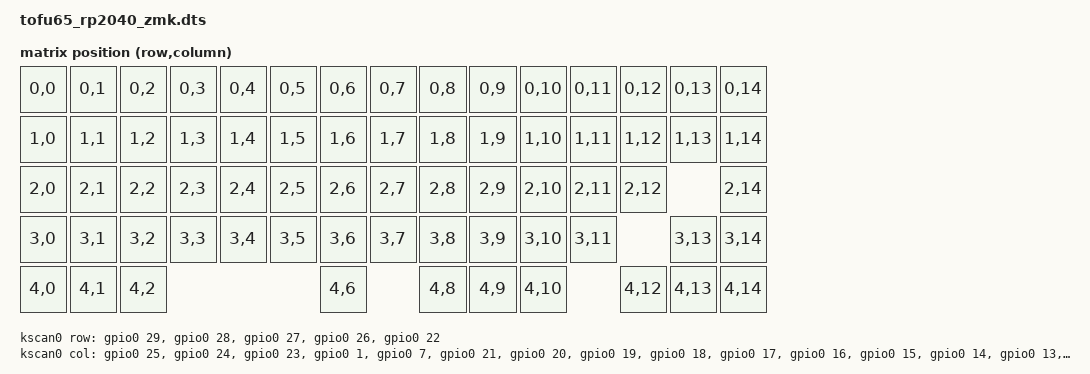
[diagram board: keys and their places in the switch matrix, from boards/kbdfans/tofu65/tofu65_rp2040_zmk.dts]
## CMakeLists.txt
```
cmake_minimum_required(VERSION 3.13.1)

set(CONFIG_APPLICATION_DEFINED_SYSCALL true)

set(ZEPHYR_BOARD_ALIASES "boards/aliases.cmake")
set(ZEPHYR_EXTRA_MODULES "${ZMK_EXTRA_MODULES};${CMAKE_CURRENT_SOURCE_DIR}/module;${CMAKE_CURRENT_SOURCE_DIR}/keymap-module")

# Zephyr 4.4 no longer adds the application source dir to SNIPPET_ROOT by
# default; register it so the snippets in app/snippets are discoverable.
set(SNIPPET_ROOT "${CMAKE_CURRENT_LIST_DIR}")

# Find Zephyr. This also loads Zephyr's build system.
find_package(Zephyr REQUIRED HINTS ../zephyr)
project(zmk)

zephyr_linker_sources(SECTIONS include/linker/zmk-behaviors.ld)
zephyr_linker_sources(RODATA include/linker/zmk-events.ld)

if(CONFIG_ZMK_BEHAVIOR_LOCAL_IDS)
  zephyr_linker_sources(DATA_SECTIONS include/linker/zmk-behavior-local-id-map.ld)
endif()

zephyr_syscall_header(${APPLICATION_SOURCE_DIR}/include/drivers/behavior.h)
zephyr_syscall_header(${APPLICATION_SOURCE_DIR}/include/drivers/input_processor.h)
zephyr_syscall_header(${APPLICATION_SOURCE_DIR}/include/drivers/ext_power.h)

# Add your source file to the "app" target. This must come after
# find_package(Zephyr) which defines the target.
target_include_directories(app PRIVATE include)
add_subdirectory(src/boot)
target_sources(app PRIVATE src/stdlib.c)
target_sources(app PRIVATE src/activity.c)
target_sources(app PRIVATE src/behavior.c)
target_sources_ifdef(CONFIG_ZMK_KSCAN_SIDEBAND_BEHAVIORS app PRIVATE src/kscan_sideband_behaviors.c)
target_sources(app PRIVATE src/matrix_transform.c)
target_sources(app PRIVATE src/physical_layouts.c)
target_sources(app PRIVATE src/sensors.c)
target_sources_ifdef(CONFIG_ZMK_WPM app PRIVATE src/wpm.c)
target_sources(app PRIVATE src/event_manager.c)
target_sources_ifdef(CONFIG_ZMK_PM app PRIVATE src/pm.c)
target_sources_ifdef(CONFIG_ZMK_EXT_POWER app PRIVATE src/ext_power_generic.c)
target_sources_ifdef(CONFIG_ZMK_GPIO_KEY_WAKEUP_TRIGGER app PRIVATE src/gpio_key_wakeup_trigger.c)
target_sources(app PRIVATE src/events/activity_state_changed.c)
target_sources(app PRIVATE src/events/position_state_changed.c)
target_sources(app PRIVATE src/events/sensor_event.c)
target_sources_ifdef(CONFIG_ZMK_WPM app PRIVATE src/events/wpm_state_changed.c)
target_sources_ifdef(CONFIG_ZMK_USB_DEVICE app PRIVATE src/events/usb_conn_state_changed.c)
target_sources(app PRIVATE src/behaviors/behavior_reset.c)
target_sources_ifdef(CONFIG_ZMK_EXT_POWER app PRIVATE src/behaviors/behavior_ext_power.c)
target_sources_ifdef(CONFIG_ZMK_BEHAVIOR_SOFT_OFF app PRIVATE src/behaviors/behavior_soft_off.c)
add_subdirectory_ifdef(CONFIG_ZMK_POINTING src/pointing/)
if ((NOT CONFIG_ZMK_SPLIT) OR CONFIG_ZMK_SPLIT_ROLE_CENTRAL)
  target_sources(app PRIVATE src/hid.c)
  target_sources(app PRIVATE src/behaviors/behavior_key_press.c)
  target_sources_ifdef(CONFIG_ZMK_BEHAVIOR_KEY_TOGGLE app PRIVATE src/behaviors/behavior_key_toggle.c)
  target_sources_ifdef(CONFIG_ZMK_BEHAVIOR_HOLD_TAP app PRIVATE src/behaviors/behavior_hold_tap.c)
  target_sources_ifdef(CONFIG_ZMK_BEHAVIOR_STICKY_KEY app PRIVATE src/behaviors/behavior_sticky_key.c)
  target_sources(app PRIVATE src/behaviors/behavior_caps_word.c)
  target_sources(app PRIVATE src/behaviors/behavior_key_repeat.c)
  target_sources_ifdef(CONFIG_ZMK_BEHAVIOR_MACRO app PRIVATE src/behaviors/behavior_macro.c)
  target_sources_ifdef(CONFIG_ZMK_BEHAVIOR_DYNAMIC_MACRO app PRIVATE src/behaviors/behavior_dynamic_macro.c)
  target_sources(app PRIVATE src/behaviors/behavior_momentary_layer.c)
  target_sources(app PRIVATE src/behaviors/behavior_mod_morph.c)
  target_sources(app PRIVATE src/behaviors/behavior_outputs.c)
  target_sources(app PRIVATE src/behaviors/behavior_toggle_layer.c)
  target_sources(app PRIVATE src/behaviors/behavior_to_layer.c)
  target_sources(app PRIVATE src/behaviors/behavior_transparent.c)
  target_sources(app PRIVATE src/behaviors/behavior_none.c)
  target_sources_ifdef(CONFIG_ZMK_BEHAVIOR_SENSOR_ROTATE app PRIVATE src/behaviors/behavior_sensor_rotate.c)
  target_sources_ifdef(CONFIG_ZMK_BEHAVIOR_SENSOR_ROTATE_VAR app PRIVATE src/behaviors/behavior_sensor_rotate_var.c)
  target_sources_ifdef(CONFIG_ZMK_BEHAVIOR_SENSOR_ROTATE_COMMON app PRIVATE src/behaviors/behavior_sensor_rotate_common.c)
  target_sources_ifdef(CONFIG_ZMK_BEHAVIOR_MOUSE_KEY_PRESS app PRIVATE src/behaviors/behavior_mouse_key_press.c)
  target_sources_ifdef(CONFIG_ZMK_BEHAVIOR_STUDIO_UNLOCK app PRIVATE src/behaviors/behavior_studio_unlock.c)
  target_sources_ifdef(CONFIG_ZMK_BEHAVIOR_INPUT_TWO_AXIS app PRIVATE src/behaviors/behavior_input_two_axis.c)
  target_sources(app PRIVATE src/combo.c)
  target_sources_ifdef(CONFIG_ZMK_BEHAVIOR_TAP_DANCE app PRIVATE src/behaviors/behavior_tap_dance.c)
  target_sources(app PRIVATE src/behavior_queue.c)
  target_sources(app PRIVATE src/conditional_layer.c)
  target_sources(app PRIVATE src/endpoints.c)
  target_sources(app PRIVATE src/events/endpoint_changed.c)
  target_sources(app PRIVATE src/hid_listener.c)
  target_sources(app PRIVATE src/keymap.c)
  target_sources(app PRIVATE src/events/layer_state_changed.c)
  target_sources(app PRIVATE src/events/modifiers_state_changed.c)
  target_sources(app PRIVATE src/events/keycode_state_changed.c)
  target_sources_ifdef(CONFIG_ZMK_HID_INDICATORS app PRIVATE src/hid_indicators.c)

  if (CONFIG_ZMK_BLE)
    target_sources(app PRIVATE src/events/ble_active_profile_changed.c)
    target_sources(app PRIVATE src/behaviors/behavior_bt.c)
    target_sources(app PRIVATE src/ble.c)
    target_sources(app PRIVATE src/hog.c)
  endif()
endif()

target_sources_ifdef(CONFIG_ZMK_RGB_UNDERGLOW app PRIVATE src/behaviors/behavior_rgb_underglow.c)
target_sources_ifdef(CONFIG_ZMK_BACKLIGHT app PRIVATE src/behaviors/behavior_backlight.c)

target_sources_ifdef(CONFIG_ZMK_BATTERY_REPORTING app PRIVATE src/events/battery_state_changed.c)
target_sources_ifdef(CONFIG_ZMK_BATTERY_REPORTING app PRIVATE src/battery.c)

target_sources_ifdef(CONFIG_ZMK_HID_INDICATORS app PRIVATE src/events/hid_indicators_changed.c)
add_subdirectory_ifdef(CONFIG_ZMK_HID_INDICATORS src/indicators)

target_sources_ifdef(CONFIG_ZMK_SPLIT app PRIVATE src/events/split_peripheral_status_changed.c)
add_subdirectory_ifdef(CONFIG_ZMK_SPLIT src/split)

target_sources_ifdef(CONFIG_MPR121 app PRIVATE src/events/mpr121_gesture_event.c)
target_sources_ifdef(CONFIG_MPR121 app PRIVATE src/events/mpr121_touch_start_event.c)
target_sources_ifdef(CONFIG_MPR121 app PRIVATE src/events/mpr121_touch_move_event.c)
target_sources_ifdef(CONFIG_MPR121 app PRIVATE src/events/mpr121_touch_end_event.c)
target_sources_ifdef(CONFIG_MPR121 app PRIVATE src/events/mpr121_touch_tap_event.c)
target_sources_ifdef(CONFIG_ZMK_TOUCHPAD app PRIVATE src/touchpad.c)

target_sources_ifdef(CONFIG_ZMK_USB_DEVICE app PRIVATE src/usb.c)
target_sources_ifdef(CONFIG_ZMK_USB app PRIVATE src/usb_hid.c)
target_sources_ifdef(CONFIG_ZMK_RGB_UNDERGLOW app PRIVATE src/rgb_underglow.c)
target_sources_ifdef(CONFIG_ZMK_BACKLIGHT app PRIVATE src/backlight.c)
target_sources_ifdef(CONFIG_ZMK_LOW_PRIORITY_WORK_QUEUE app PRIVATE src/workqueue.c)
target_sources(app PRIVATE src/indicator.c)
target_sources(app PRIVATE src/behaviors/behavior_indicator.c)
target_sources(app PRIVATE src/gpio_key.c)
target_sources(app PRIVATE src/main.c)

add_subdirectory(src/display/)
add_subdirectory_ifdef(CONFIG_SETTINGS src/settings/)

if (CONFIG_ZMK_STUDIO_RPC)
  # For some reason this is failing if run from a different sub-file.
  list(APPEND CMAKE_MODULE_PATH ${ZEPHYR_BASE}/modules/nanopb)

  include(nanopb)

    # Turn off the default nanopb behavior
  set(NANOPB_GENERATE_CPP_STANDALONE OFF)

  nanopb_generate_cpp(proto_srcs proto_hdrs RELPATH ${ZEPHYR_ZMK_STUDIO_MESSAGES_MODULE_DIR}
                        ${ZEPHYR_ZMK_STUDIO_MESSAGES_MODULE_DIR}/proto/zmk/studio.proto
                        ${ZEPHYR_ZMK_STUDIO_MESSAGES_MODULE_DIR}/proto/zmk/meta.proto
                        ${ZEPHYR_ZMK_STUDIO_MESSAGES_MODULE_DIR}/proto/zmk/core.proto
                        ${ZEPHYR_ZMK_STUDIO_MESSAGES_MODULE_DIR}/proto/zmk/behaviors.proto
                        ${ZEPHYR_ZMK_STUDIO_MESSAGES_MODULE_DIR}/proto/zmk/keymap.proto
                        ${ZEPHYR_ZMK_STUDIO_MESSAGES_MODULE_DIR}/proto/zmk/macros.proto
                        ${ZEPHYR_ZMK_STUDIO_MESSAGES_MODULE_DIR}/proto/zmk/sensors.proto
                        ${ZEPHYR_ZMK_STUDIO_MESSAGES_MODULE_DIR}/proto/zmk/touchpad.proto
  )

  target_include_directories(app PUBLIC ${CMAKE_CURRENT_BINARY_DIR})
  target_sources(app PRIVATE ${proto_srcs} ${proto_hdrs})

  add_subdirectory(src/studio)
endif()

zephyr_cc_option(-Wfatal-errors)
```

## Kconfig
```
# Copyright (c) 2020 The ZMK Contributors
# SPDX-License-Identifier: MIT

mainmenu "ZMK Firmware"

menu "ZMK"

config ZMK_BOARD_COMPAT
    bool
    help
      Hidden symbol used to hint that a board has been specifically
      set up with various ZMK requirements in mind, e.g. settings
      storage, bootloader integration, etc.

      Failure to set this will warn users they may want to verify they
      used a ZMK variant of an upstream board, or are using a board
      properly migrated to a newer ZMK version.

menu "Basic Keyboard Setup"

config ZMK_KEYBOARD_NAME
    string "Keyboard Name"

config USB_DEVICE_PRODUCT
    string "USB Product"
    default ZMK_KEYBOARD_NAME

config BT_DEVICE_NAME
    default ZMK_KEYBOARD_NAME

config USB_DEVICE_VID
    hex "USB Vendor ID"
    default 0x1D50

config USB_DEVICE_PID
    hex "USB Product ID"
    default 0x615E

config USB_DEVICE_MANUFACTURER
    string "USB Manufacturer"
    default "ZMK Project"

config BT_DIS_PNP_VID
    default 0x1D50

config BT_DIS_PNP_PID
    default 0x615E

config BT_DIS_MODEL_NUMBER_STR
    default ZMK_KEYBOARD_NAME

config BT_DIS_MANUF_NAME_STR
    default "ZMK Project"

# Hardware specific overrides

if SOC_SERIES_NRF52X

# Default on for our usage until boards implement retained bootmode.
config NRF_STORE_REBOOT_TYPE_GPREGRET
    bool
    default y

endif # SOC_SERIES_NRF52X

menu "HID"

choice ZMK_HID_REPORT_TYPE
    prompt "HID Report Type"

config ZMK_HID_REPORT_TYPE_HKRO
    bool "#-Key Roll Over (HKRO) HID Report"
    help
      Enable # key roll over for HID report. This selection is "boot keyboard" compatible
      but limits the total number of possible keys to report as held to #.

config ZMK_HID_REPORT_TYPE_NKRO
    bool "Full N-Key Roll Over (NKRO) HID Report"
    help
      Enable full N-Key Roll Over for HID output. This selection will prevent the keyboard
      from working with some BIOS/UEFI versions that only support "boot keyboard" support.
      This option also prevents using some infrequently used higher range HID usages (notably F13-F24 and INTL1-9)
      These usages can be re enabled with ZMK_HID_KEYBOARD_NKRO_EXTENDED_REPORT.

endchoice

config ZMK_HID_KEYBOARD_NKRO_EXTENDED_REPORT
    bool "Enable extended NKRO reporting"
    depends on ZMK_HID_REPORT_TYPE_NKRO
    help
      Enables higher usage range for NKRO (F13-F24 and INTL1-9).
      Please note this is not compatible with Android currently and you will get no input


if ZMK_HID_REPORT_TYPE_HKRO

config ZMK_HID_KEYBOARD_REPORT_SIZE
    int "# Keyboard Keys Reportable"
    # The USB HID IN endpoint is limited to 64 bytes; the keyboard report is
    # 2 bytes of header plus one byte per reported key.
    range 1 62

endif # ZMK_HID_REPORT_TYPE_HKRO

config ZMK_HID_CONSUMER_REPORT_SIZE
    int "# Consumer Keys Reportable"
    # The USB HID IN endpoint is limited to 64 bytes; the consumer report is
    # 1 byte of header plus 1 (basic) or 2 (full) bytes per reported key.
    range 1 63
    range 1 31 if ZMK_HID_CONSUMER_REPORT_USAGES_FULL

choice ZMK_HID_CONSUMER_REPORT_USAGES
    prompt "HID Report Type"

config ZMK_HID_CONSUMER_REPORT_USAGES_FULL
    bool "Full Consumer HID Usage Support"
    help
      Enable full Consumer usage ID values to be sent to hosts. Allows for less
      frequently used usages, but has compatibability issues with some host OSes.

config ZMK_HID_CONSUMER_REPORT_USAGES_BASIC
    bool "Basic Consumer HID Usage Support"
    help
      Enable Consumer usage ID values up to "Playback Speed - Slow" to be sent to
      hosts. Allows for broader compatibability with more host OSes.

endchoice

config ZMK_HID_INDICATORS
    bool "HID Indicators"
    help
      Enable HID indicators, used for detecting state of Caps/Scroll/Num Lock,
      Kata, and Compose.

rsource "src/indicators/Kconfig"

config ZMK_HID_SEPARATE_MOD_RELEASE_REPORT
    bool "Release Modifiers Separately"
    help
      Send a separate release event for the modifiers, to make sure the release
      of the modifier doesn't get recognized before the actual key's release event.

menu "Output Types"

config ZMK_USB
    bool "USB"
    depends on (!ZMK_SPLIT || (ZMK_SPLIT && ZMK_SPLIT_ROLE_CENTRAL))
    select USB_DEVICE_STACK_NEXT
    select USBD_HID_SUPPORT
    select USBD_HID_SET_POLLING_PERIOD

config ZMK_USB_BOOT
    bool "USB Boot Protocol Support"
    depends on ZMK_USB
    help
      Enables USB boot protocol support. Note that the host will only use the
      boot protocol if the device advertises it: the zmk_usb_hid devicetree
      node (see app/app.overlay) must have protocol-code = "keyboard" set via
      a board overlay for this option to take effect.

config ZMK_USB_REMOTE_WAKEUP
    bool "USB Remote Wakeup"
    depends on ZMK_USB

if ZMK_USB

config USB_HID_POLL_INTERVAL_MS
    default 1

endif # ZMK_USB

config ZMK_USB_DEVICE
    bool
    default y if ZMK_USB || ZMK_USB_LOGGING

menuconfig ZMK_BLE
    bool "BLE (HID over GATT)"
    select BT
    select BT_SMP
    select BT_SMP_SC_PAIR_ONLY
    select BT_SMP_APP_PAIRING_ACCEPT
    select BT_PERIPHERAL
    select BT_DIS
    imply BT_DEVICE_NAME_DYNAMIC
    imply BT_SETTINGS if !ARCH_POSIX
    imply SETTINGS if !ARCH_POSIX
    imply ZMK_BATTERY_REPORTING if !ARCH_POSIX

if ZMK_BLE

config ZMK_BLE_EXPERIMENTAL_CONN
    bool "Experimental BLE connection changes"
    help
      Enables settings that are planned to be default in future versions of ZMK
      to improve connection stability.

config ZMK_BLE_EXPERIMENTAL_SEC
    bool "Experimental BLE security changes"
    imply BT_SMP_ALLOW_UNAUTH_OVERWRITE
    help
      Enables security settings that are planned to be officially supported in the future.

config ZMK_BLE_EXPERIMENTAL_FEATURES
    bool "Experimental BLE connection and security settings/features"
    select ZMK_BLE_EXPERIMENTAL_CONN
    select ZMK_BLE_EXPERIMENTAL_SEC
    help
      Enables experimental connection changes and security features.

config ZMK_BLE_PASSKEY_ENTRY
    bool "Require passkey entry on the keyboard to complete pairing"
    select RING_BUFFER

config BT_SMP_ALLOW_UNAUTH_OVERWRITE
    imply ZMK_BLE_PASSKEY_ENTRY

config BT_CTLR_PHY_2M
    default n if ZMK_BLE_EXPERIMENTAL_CONN

config ZMK_BLE_THREAD_STACK_SIZE
    int "BLE notify thread stack size"
    default 768

config ZMK_BLE_THREAD_PRIORITY
    int "BLE notify thread priority"
    default 5

config ZMK_BLE_KEYBOARD_REPORT_QUEUE_SIZE
    int "Max number of keyboard HID reports to queue for sending over BLE"
    default 20

config ZMK_BLE_CONSUMER_REPORT_QUEUE_SIZE
    int "Max number of consumer HID reports to queue for sending over BLE"
    default 5

config ZMK_BLE_MOUSE_REPORT_QUEUE_SIZE
    int "Max number of mouse HID reports to queue for sending over BLE"
    default 20

config ZMK_BLE_CLEAR_BONDS_ON_START
    bool "Configuration that clears all bond information from the keyboard on startup."

# HID GATT notifications sent this way are *not* picked up by Linux, and possibly others.
config BT_GATT_NOTIFY_MULTIPLE
    default n

config BT_GATT_AUTO_SEC_REQ
    default (ZMK_SPLIT_BLE && !ZMK_SPLIT_ROLE_CENTRAL)

config BT_PERIPHERAL_PREF_MIN_INT
    default 6

config BT_PERIPHERAL_PREF_MAX_INT
    default 12

config BT_PERIPHERAL_PREF_LATENCY
    default 30

config BT_PERIPHERAL_PREF_TIMEOUT
    default 400

# The device name should be 16 characters or less so it fits within the
# advertising data.
config BT_DEVICE_NAME_MAX
    default 16

endif # ZMK_BLE

endmenu # Output Types

endmenu # HID

rsource "src/split/Kconfig"

endmenu # Basic Keyboard Setup

menu "Keymaps"

config ZMK_KEYMAP_LAYER_REORDERING
    bool "Layer Reordering Support"

config ZMK_KEYMAP_SETTINGS_STORAGE
    bool "Settings Save/Load"
    depends on SETTINGS
    depends on ZMK_BEHAVIOR_LOCAL_IDS

if ZMK_KEYMAP_SETTINGS_STORAGE

config ZMK_KEYMAP_LAYER_NAME_MAX_LEN
    int "Max Layer Name Length"
    default 20

endif # ZMK_KEYMAP_SETTINGS_STORAGE

endmenu # Keymaps

rsource "src/studio/Kconfig"

menu "Display/LED Options"

rsource "src/display/Kconfig"

menuconfig ZMK_RGB_UNDERGLOW
    bool "RGB Addressable LED Underglow"
    select LED_STRIP
    select ZMK_LOW_PRIORITY_WORK_QUEUE

if ZMK_RGB_UNDERGLOW

config ZMK_RGB_UNDERGLOW_EXT_POWER
    bool "RGB underglow toggling also controls external power"

config ZMK_RGB_UNDERGLOW_BRT_MIN
    int "RGB underglow minimum brightness in percent"
    range 0 100

config ZMK_RGB_UNDERGLOW_BRT_MAX
    int "RGB underglow maximum brightness in percent"
    range ZMK_RGB_UNDERGLOW_BRT_MIN 100

config ZMK_RGB_UNDERGLOW_HUE_STEP
    int "RGB underglow hue step in degrees"
    range 0 359

config ZMK_RGB_UNDERGLOW_SAT_STEP
    int "RGB underglow saturation step in percent"
    range 0 100

config ZMK_RGB_UNDERGLOW_BRT_STEP
    int "RGB underglow brightness step in percent"
    range 0 100

config ZMK_RGB_UNDERGLOW_HUE_START
    int "RGB underglow start hue value in degrees"
    range 0 359

config ZMK_RGB_UNDERGLOW_SAT_START
    int "RGB underglow start saturations value in percent"
    range 0 100

config ZMK_RGB_UNDERGLOW_BRT_START
    int "RGB underglow start brightness value in percent"
    range ZMK_RGB_UNDERGLOW_BRT_MIN ZMK_RGB_UNDERGLOW_BRT_MAX

config ZMK_RGB_UNDERGLOW_SPD_START
    int "RGB underglow start animation speed value"
    range 1 5

config ZMK_RGB_UNDERGLOW_EFF_START
    int "RGB underglow start effect int value related to the effect enum list"
    range 0 3

config ZMK_RGB_UNDERGLOW_ON_START
    bool "RGB underglow starts on by default"

config ZMK_RGB_UNDERGLOW_AUTO_OFF_IDLE
    bool "Turn off RGB underglow when keyboard goes into idle state"

config ZMK_RGB_UNDERGLOW_AUTO_OFF_USB
    bool "Turn off RGB underglow when USB is disconnected"
    depends on ZMK_USB

endif # ZMK_RGB_UNDERGLOW

menuconfig ZMK_BACKLIGHT
    bool "LED backlight"
    select LED

if ZMK_BACKLIGHT

config ZMK_BACKLIGHT_BRT_STEP
    int "Brightness step in percent"
    range 1 100

config ZMK_BACKLIGHT_BRT_START
    int "Default brightness in percent"
    range 1 100

config ZMK_BACKLIGHT_ON_START
    bool "Default backlight state"

config ZMK_BACKLIGHT_AUTO_OFF_IDLE
    bool "Turn off backlight when keyboard goes into idle state"

config ZMK_BACKLIGHT_AUTO_OFF_USB
    bool "Turn off backlight when USB is disconnected"
    depends on ZMK_USB

endif # ZMK_BACKLIGHT

endmenu # Display/LED Options

rsource "src/pointing/Kconfig"

menu "Power Management"

config ZMK_BATTERY_REPORTING
    bool "Battery level detection/reporting"
    select SENSOR
    select ZMK_LOW_PRIORITY_WORK_QUEUE
    imply BT_BAS if ZMK_BLE

if ZMK_BATTERY_REPORTING

choice ZMK_BATTERY_REPORTING_FETCH_MODE
    prompt "Battery Reporting Fetch Mode"

config ZMK_BATTERY_REPORTING_FETCH_MODE_STATE_OF_CHARGE
    bool "State of charge"

config ZMK_BATTERY_REPORTING_FETCH_MODE_LITHIUM_VOLTAGE
    bool "Lithium Voltage"

endchoice

endif # ZMK_BATTERY_REPORTING

config ZMK_IDLE_TIMEOUT
    int "Milliseconds of inactivity before entering idle state (OLED shutoff, etc)"
    default 30000

config ZMK_SLEEP
    bool "Enable deep sleep support"
    depends on HAS_POWEROFF
    select POWEROFF
    select ZMK_PM_DEVICE_SUSPEND_RESUME

if ZMK_SLEEP

config PM_DEVICE
    default y

config ZMK_IDLE_SLEEP_TIMEOUT
    int "Milliseconds of inactivity before entering deep sleep"
    default 900000

endif # ZMK_SLEEP

config ZMK_EXT_POWER
    bool "Enable support to control external power output"

config ZMK_PM
    bool

config ZMK_PM_DEVICE_SUSPEND_RESUME
    bool
    select ZMK_PM

config ZMK_PM_SOFT_OFF
    bool "Soft-off support"
    depends on HAS_POWEROFF
    select ZMK_PM
    select PM_DEVICE
    select ZMK_PM_DEVICE_SUSPEND_RESUME
    select POWEROFF

config ZMK_GPIO_KEY_WAKEUP_TRIGGER
    bool "Hardware supported wakeup (GPIO)"
    default y
    depends on DT_HAS_ZMK_GPIO_KEY_WAKEUP_TRIGGER_ENABLED && ZMK_PM_SOFT_OFF

# Power Management
endmenu

menu "Combo options"

config ZMK_COMBO_MAX_PRESSED_COMBOS
    int "Maximum number of currently pressed combos"
    default 4

config ZMK_COMBO_MAX_COMBOS_PER_KEY
    int "Deprecated: Max combos per key"
    default 0
    help
      Deprecated: Storage for combos is now determined automatically

config ZMK_COMBO_MAX_KEYS_PER_COMBO
    int "Deprecated: Max keys per combo"
    default 0
    help
       Deprecated: This is now auto-calculated based on `key-positions` in devicetree

# Combo options
endmenu

menu "Behavior Options"

config ZMK_BEHAVIORS_QUEUE_SIZE
    int "Maximum number of behaviors to allow queueing from a macro or other complex behavior"
    default 64

rsource "Kconfig.behaviors"

config ZMK_MACRO_DEFAULT_WAIT_MS
    int "Default time to wait (in milliseconds) before triggering the next behavior in macros"
    default 15

config ZMK_MACRO_DEFAULT_TAP_MS
    int "Default time to wait (in milliseconds) between the press and release events of a tapped behavior in macros"
    default 30

endmenu

menu "Advanced"

rsource "src/boot/Kconfig"

menu "Initialization Priorities"

if ZMK_USB_DEVICE

config ZMK_USB_INIT_PRIORITY
    int "USB Init Priority"
    default 96

config ZMK_USB_HID_INIT_PRIORITY
    int "USB HID Init Priority"
    default 95

endif # ZMK_USB_DEVICE

if ZMK_BLE || ZMK_SPLIT_BLE

config ZMK_BLE_INIT_PRIORITY
    int "BLE Init Priority"
    default 50

endif # ZMK_BLE || ZMK_SPLIT_BLE

endmenu # Initialization Priorities

config ZMK_PHYSICAL_LAYOUT_KEY_ROTATION
    bool "Support rotation of keys in physical layouts"
    default y

menuconfig ZMK_KSCAN
    bool "ZMK KScan Integration"
    default y

if ZMK_KSCAN

config ZMK_KSCAN_EVENT_QUEUE_SIZE
    int "Size of the event queue for KSCAN events to buffer events"
    default 4

endif # ZMK_KSCAN

config ZMK_KSCAN_SIDEBAND_BEHAVIORS
    bool
    default y
    depends on DT_HAS_ZMK_KSCAN_SIDEBAND_BEHAVIORS_ENABLED
    select INPUT

if ZMK_KSCAN_SIDEBAND_BEHAVIORS

config ZMK_KSCAN_SIDEBAND_BEHAVIORS_INIT_PRIORITY
    int "Keyboard scan sideband behaviors driver init priority"
    # The default kscan init priority is 90, so be sure we are initialized later.
    default 95

endif # ZMK_KSCAN_SIDEBAND_BEHAVIORS

menu "Logging"

config ZMK_LOGGING_MINIMAL
    bool "Suppress all ZMK debug log messages"
    default false

if !ZMK_LOGGING_MINIMAL

config ZMK_LOG_LEVEL
    default 4

endif

config ZMK_USB_LOGGING
    bool "Enable USB CDC ACM logging to help debug"
    select LOG
    select USB_DEVICE_STACK_NEXT
    select USBD_CDC_ACM_CLASS
    select SERIAL
    select CONSOLE
    select UART_INTERRUPT_DRIVEN
    select UART_LINE_CTRL
    select UART_CONSOLE

if ZMK_USB_LOGGING

# Keep the CDC ACM class's own log level off by default: the class is the
# logging console, so class logging would recurse into the console it feeds.
# (The class forces the level to OFF at runtime anyway, with a #warning.)
choice USBD_CDC_ACM_LOG_LEVEL_CHOICE
    default USBD_CDC_ACM_LOG_LEVEL_OFF
endchoice

config LOG_PROCESS_THREAD_STARTUP_DELAY_MS
    default 1000

endif # ZMK_USB_LOGGING

config ZMK_RTT_LOGGING
    bool "Enable RTT logging to help debug"
    select LOG
    select DEBUG
    select ASSERT
    select USE_SEGGER_RTT
    select CONSOLE
    select RTT_CONSOLE

if ZMK_RTT_LOGGING

config SEGGER_RTT_BUFFER_SIZE_UP
    default 8192

endif # ZMK_RTT_LOGGING

if ZMK_USB_LOGGING || ZMK_RTT_LOGGING

config LOG_BUFFER_SIZE
    default 8192

config LOG_PROCESS_THREAD_SLEEP_MS
    default 100

endif # ZMK_USB_LOGGING || ZMK_RTT_LOGGING

endmenu # Logging

if SETTINGS

config ZMK_SETTINGS_RESET_ON_START
    bool "Delete all persistent settings when the keyboard boots"

if ZMK_SETTINGS_RESET_ON_START

config ZMK_SETTINGS_RESET_ON_START_INIT_PRIORITY
    int "Settings Reset ON Start Initialization Priority"
    default 60
    help
      Initialization priority for the settings reset on start. Must be lower priority/
      higher value than FLASH_INIT_PRIORITY if using the NVS/Flash settings backend.

endif # ZMK_SETTINGS_RESET_ON_START

config ZMK_SETTINGS_SAVE_DEBOUNCE
    int "Milliseconds to debounce settings saves"
    default 60000

endif # SETTINGS

config ZMK_BATTERY_REPORT_INTERVAL
    depends on ZMK_BATTERY_REPORTING
    int "Battery level report interval in seconds"

config ZMK_LOW_PRIORITY_WORK_QUEUE
    bool "Work queue for low priority items"

if ZMK_LOW_PRIORITY_WORK_QUEUE

config ZMK_LOW_PRIORITY_THREAD_STACK_SIZE
    int "Low priority thread stack size"
    default 768

config ZMK_LOW_PRIORITY_THREAD_PRIORITY
    int "Low priority thread priority"
    default 10

endif # ZMK_LOW_PRIORITY_WORK_QUEUE

endmenu # Advanced

endmenu # ZMK

if SOC_FAMILY_NORDIC_NRF

config NRF_SOC_VALIDATE_HEADERS_DISABLED
    default y

endif

config KERNEL_BIN_NAME
    default "zmk"

config REBOOT
    default y

config FPU
    default CPU_HAS_FPU

config ZMK_WPM
    bool "Calculate WPM"

config ZMK_KEYMAP_SENSORS
    bool "Enable Keymap Sensors support"
    default y
    depends on DT_HAS_ZMK_KEYMAP_SENSORS_ENABLED
    select SENSOR

if ZMK_KEYMAP_SENSORS

config ZMK_KEYMAP_SENSORS_DEFAULT_TRIGGERS_PER_ROTATION
    int "Default triggers per rotation"
    help
      Unless overridden for a sensor in the board/shield/devicetree, this value
      determines how many times to trigger the bound behavior per full rotation.
      For tactile encoders with detents, this usually should match the number of
      detents per rotation of the encoder.
    default 20

config ZMK_KEYMAP_SENSORS_MAX_BINDINGS
    int "Max sensor bindings"
    default 2
    help
      Maximum number of bindings per sensor.

endif # ZMK_KEYMAP_SENSORS

config ZMK_TOUCHPAD
    bool "Touchpad Support"
    default y
    depends on MPR121
    help
      Touchpad module with per-layer bindings and mode support.

module = ZMK
module-str = zmk
source "subsys/logging/Kconfig.template.log_config"

# This loads ZMK's internal board and shield Kconfigs
rsource "boards/Kconfig"
rsource "boards/shields/*/Kconfig.defconfig"
rsource "boards/shields/*/Kconfig.shield"

# This loads custom shields defconfigs (from BOARD_ROOT)
# Duplicated from Kconfig.zephyr
osource "$(KCONFIG_BINARY_DIR)/Kconfig.shield.defconfig"

# This loads board and shield Kconfigs found under zmk-config/config/
osource "$(ZMK_CONFIG)/boards/shields/*/Kconfig.defconfig"
osource "$(ZMK_CONFIG)/boards/shields/*/Kconfig.shield"

# This loads ZMK's sensible defaults
rsource "Kconfig.defaults"

source "Kconfig.zephyr"
```

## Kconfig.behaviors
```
# Copyright (c) 2023 The ZMK Contributors
# SPDX-License-Identifier: MIT

config ZMK_BEHAVIOR_METADATA
    bool "Metadata"
    help
      Enabling this option adds APIs for documenting and fetching
      metadata describing a behaviors name, and supported parameters.

config ZMK_BEHAVIOR_LOCAL_IDS
    bool "Local IDs"

if ZMK_BEHAVIOR_LOCAL_IDS

config ZMK_BEHAVIOR_LOCAL_IDS_IN_BINDINGS
    bool "Track in behavior bindings"

choice ZMK_BEHAVIOR_LOCAL_ID_TYPE
    prompt "Local ID Type"

config ZMK_BEHAVIOR_LOCAL_ID_TYPE_SETTINGS_TABLE
    bool "Settings Table"
    depends on SETTINGS
    select ZMK_BEHAVIOR_LOCAL_IDS_IN_BINDINGS
    help
      Use persistent entries in the settings subsystem to identify
      behaviors by local ID, which uses the device name to generate
      a new settings entry tying a presistant local ID to that name.
      This guarantees stable, colllision-free local IDs at the expense
      of settings storage used.

config ZMK_BEHAVIOR_LOCAL_ID_TYPE_CRC16
    bool "CRC16 Hash"
    select CRC
    help
      Use the CRC16-ANSI hash of behavior device names to generate
      stable behavior local IDs. This saves on settings storage at
      the expense of (highly unlikely) risk of collisions.

endchoice

endif


config ZMK_BEHAVIOR_HOLD_TAP
    bool
    default y
    depends on DT_HAS_ZMK_BEHAVIOR_HOLD_TAP_ENABLED

if ZMK_BEHAVIOR_HOLD_TAP

config ZMK_BEHAVIOR_HOLD_TAP_MAX_HELD
    int "Hold Tap Max Held"
    help
      Max number of simultaneously held hold-taps

config ZMK_BEHAVIOR_HOLD_TAP_MAX_CAPTURED_EVENTS
    int "Hold Tap Max Captured Events"
    help
      Max number of captured system events while waiting to resolve hold taps

endif

config ZMK_BEHAVIOR_KEY_TOGGLE
    bool
    default y
    depends on DT_HAS_ZMK_BEHAVIOR_KEY_TOGGLE_ENABLED

config ZMK_BEHAVIOR_MOUSE_KEY_PRESS
    bool
    default y
    depends on DT_HAS_ZMK_BEHAVIOR_MOUSE_KEY_PRESS_ENABLED && ZMK_POINTING

config ZMK_BEHAVIOR_STICKY_KEY
    bool
    default y
    depends on DT_HAS_ZMK_BEHAVIOR_STICKY_KEY_ENABLED

if ZMK_BEHAVIOR_STICKY_KEY

config ZMK_BEHAVIOR_STICKY_KEY_MAX_HELD
    int "Sticky Key Max Held"
    help
      Max number of simultaneously held sticky keys

endif

config ZMK_BEHAVIOR_SOFT_OFF
    bool
    default y
    depends on DT_HAS_ZMK_BEHAVIOR_SOFT_OFF_ENABLED && ZMK_PM_SOFT_OFF


config ZMK_BEHAVIOR_TAP_DANCE
    bool
    default y
    depends on DT_HAS_ZMK_BEHAVIOR_TAP_DANCE_ENABLED

if ZMK_BEHAVIOR_TAP_DANCE

config ZMK_BEHAVIOR_TAP_DANCE_MAX_HELD
    int "Tap-Dance Max Held"
    help
      Max number of simultaneously held taps-dances

endif

config ZMK_BEHAVIOR_INPUT_TWO_AXIS
    bool
    default y
    depends on DT_HAS_ZMK_BEHAVIOR_INPUT_TWO_AXIS_ENABLED && ZMK_POINTING

config ZMK_BEHAVIOR_SENSOR_ROTATE_COMMON
    bool

config ZMK_BEHAVIOR_SENSOR_ROTATE
    bool
    default y
    depends on DT_HAS_ZMK_BEHAVIOR_SENSOR_ROTATE_ENABLED
    select ZMK_BEHAVIOR_SENSOR_ROTATE_COMMON

config ZMK_BEHAVIOR_SENSOR_ROTATE_VAR
    bool
    default y
    depends on DT_HAS_ZMK_BEHAVIOR_SENSOR_ROTATE_VAR_ENABLED
    select ZMK_BEHAVIOR_SENSOR_ROTATE_COMMON

config ZMK_BEHAVIOR_STUDIO_UNLOCK
    bool
    default y
    depends on DT_HAS_ZMK_BEHAVIOR_STUDIO_UNLOCK_ENABLED && ZMK_STUDIO

config ZMK_BEHAVIOR_MACRO
    bool
    default y
    depends on DT_HAS_ZMK_BEHAVIOR_MACRO_ENABLED || DT_HAS_ZMK_BEHAVIOR_MACRO_ONE_PARAM_ENABLED || DT_HAS_ZMK_BEHAVIOR_MACRO_TWO_PARAM_ENABLED

config ZMK_BEHAVIOR_DYNAMIC_MACRO
    bool "Dynamic Macro Behavior"
    depends on ZMK_STUDIO
    default y
    help
      Enable support for dynamic macros, which can be updated at runtime.

if ZMK_BEHAVIOR_DYNAMIC_MACRO

config ZMK_DYNAMIC_MACROS_COUNT
    int "Number of dynamic macros"
    default 16
    help
      The number of available dynamic macro slots.

config ZMK_DYNAMIC_MACROS_MAX_STEPS
    int "Maximum steps per dynamic macro"
    default 64
    help
      The maximum number of bindings (steps) that a single dynamic macro can hold.

endif
```

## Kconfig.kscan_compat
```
# Temporary compatibility shim for the kscan subsystem removed in Zephyr 4.2.
# ZMK's kscan drivers (app/module/drivers/kscan) and their consumers still
# select/use the legacy KSCAN symbols; this is removed together with the
# matrix-input migration (backlog a01).

menuconfig KSCAN
	bool "Keyboard scan drivers (ZMK compatibility shim)"
	select DEPRECATED
	help
	  Include Keyboard scan drivers in system config.

if KSCAN

config KSCAN_INIT_PRIORITY
	int "Keyboard scan driver init priority"
	default 90
	help
	  Keyboard scan device driver initialization priority.

endif # KSCAN
```

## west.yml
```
manifest:
  remotes:
    - name: zephyrproject-rtos
      url-base: https://github.com/zephyrproject-rtos
    - name: zmkfirmware
      url-base: https://github.com/zmkfirmware
    - name: cobanfirmware
      url-base: https://github.com/RyanDam
  projects:
    - name: zephyr
      remote: zmkfirmware
      revision: v4.1.0+zmk-fixes
      clone-depth: 1
      import:
        name-blocklist:
          - ci-tools
          - hal_altera
          - hal_cypress
          - hal_infineon
          - hal_microchip
          - hal_nxp
          - hal_openisa
          - hal_xtensa
          - hal_st
          - hal_ti
          - loramac-node
          - mcuboot
          - mcumgr
          - net-tools
          - openthread
          - edtt
          - trusted-firmware-m
    - name: hal_stm32
      revision: 4fcc3a3f32abe1c4cb76d9d1cef967728dd03908
      path: modules/hal/stm32
      remote: zmkfirmware
      groups:
        - hal
    - name: lvgl
      revision: f1db87ee98f1810328a8419572fa42a3b5f352ae
      path: modules/lib/gui/lvgl
      remote: zmkfirmware
    - name: zmk-studio-messages
      revision: main
      path: modules/msgs/zmk-studio-messages
      remote: cobanfirmware
      repo-path: zmk-studio-messages
  group-filter: [+optional]
  self:
    west-commands: scripts/west-commands.yml
```

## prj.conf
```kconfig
CONFIG_APPLICATION_DEFINED_SYSCALL=y
CONFIG_INPUT_MODE_SYNCHRONOUS=y
```

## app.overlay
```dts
/*
 * Copyright (c) 2020 The ZMK Contributors
 *
 * SPDX-License-Identifier: MIT
 */

/*
 * ZMK USB HID class instance for the Zephyr USB device stack (device_next).
 *
 * The class instance is linked to the usbd_context at runtime via
 * usbd_register_class(), so the node does not need to be a child of the
 * USB device controller (UDC) node. Defining it at the root keeps it
 * independent of per-board UDC node naming.
 *
 * The node is present in all builds; the class driver is only compiled when
 * the USB device stack is enabled.
 *
 * Boards enabling USB boot protocol support (CONFIG_ZMK_USB_BOOT) set
 * protocol-code = "keyboard" on this node via a board overlay. The
 * protocol-code property is intentionally NOT set here: the binding treats
 * its absence as "none" (no boot interface), and defining it in this overlay
 * would override board/shield overlays, which are applied earlier.
 */

/ {
    zmk_usb_hid: hid {
        compatible = "zephyr,hid-device";
        in-report-size = <64>;
        in-polling-period-us = <1000>;
    };
};
```

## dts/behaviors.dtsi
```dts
/*
 * Copyright (c) 2024 The ZMK Contributors
 *
 * SPDX-License-Identifier: MIT
 */

#include <behaviors/key_press.dtsi>
#include <behaviors/key_toggle.dtsi>
#include <behaviors/transparent.dtsi>
#include <behaviors/none.dtsi>
#include <behaviors/mod_tap.dtsi>
#include <behaviors/layer_tap.dtsi>
#include <behaviors/gresc.dtsi>
#include <behaviors/sticky_key.dtsi>
#include <behaviors/momentary_layer.dtsi>
#include <behaviors/toggle_layer.dtsi>
#include <behaviors/to_layer.dtsi>
#include <behaviors/reset.dtsi>
#include <behaviors/sensor_rotate_key_press.dtsi>
#include <behaviors/rgb_underglow.dtsi>
#include <behaviors/bluetooth.dtsi>
#include <behaviors/ext_power.dtsi>
#include <behaviors/outputs.dtsi>
#include <behaviors/caps_word.dtsi>
#include <behaviors/key_repeat.dtsi>
#include <behaviors/backlight.dtsi>
#include <behaviors/macros.dtsi>
#include <behaviors/soft_off.dtsi>
#include <behaviors/studio_unlock.dtsi>
#include <behaviors/mouse_keys.dtsi>
#include <behaviors/dynamic_macro.dtsi>
```

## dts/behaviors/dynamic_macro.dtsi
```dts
/*
 * Copyright (c) 2024 The ZMK Contributors
 *
 * SPDX-License-Identifier: MIT
 */

/ {
    behaviors {
        dm: dynamic_macro {
            compatible = "zmk,behavior-dynamic-macro";
            #binding-cells = <1>;
        };
    };
};
```

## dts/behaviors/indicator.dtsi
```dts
/ {
    behaviors {
        /omit-if-no-ref/ ind_bat: ind_bat {
            compatible = "zmk,behavior-indicator";
            #binding-cells = <0>;
            indicate-battery;
        };
        /omit-if-no-ref/ ind_con: ind_con {
            compatible = "zmk,behavior-indicator";
            #binding-cells = <0>;
            indicate-connectivity;
        };
        /omit-if-no-ref/ ind_lyr: ind_lyr {
            compatible = "zmk,behavior-indicator";
            #binding-cells = <0>;
            indicate-layer;
        };
    };
};
```

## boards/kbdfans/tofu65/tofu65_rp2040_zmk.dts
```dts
/*
 * Copyright (c) 2023 The ZMK Contributors
 * SPDX-License-Identifier: MIT
 */

/dts-v1/;

#include <raspberrypi/rpi_pico/rp2040.dtsi>
#include <vendor/raspberrypi/rp2040-boot-mode-retention.dtsi>

#include <dt-bindings/zmk/matrix_transform.h>

#include <layouts/common/65percent/ansi.dtsi>

/ {

    chosen {
        zephyr,sram = &sram0;
        zephyr,flash = &flash0;
        zephyr,flash-controller = &ssi;
        zephyr,code-partition = &code_partition;
        zmk,kscan = &kscan0;
        zmk,physical-layout = &layout_65_ansi;
    };

    default_transform: keymap_transform_0 {
        compatible = "zmk,matrix-transform";
        columns = <15>;
        rows = <5>;

//  ------- Switch Matrix ----------
//
//  Column     0 |   1 |   2 |   3 |   4 |   5 |   6 |   7 |   8 |   9 |  10 |  11 |  12 |  13 |  14 |
//          ==========================================================================================
//  Row 0 ||  S0 |  S1 |  S2 |  S3 |  S4 |  S5 |  S6 |  S7 |  S8 |  S9 | S10 | S11 | S12 | S13 | S14 |
//  Row 1 ||  S0 |  S1 |  S2 |  S3 |  S4 |  S5 |  S6 |  S7 |  S8 |  S9 | S10 | S11 | S12 | S13 | S14 |
//  Row 2 ||  S0 |  S1 |  S2 |  S3 |  S4 |  S5 |  S6 |  S7 |  S8 |  S9 | S10 | S11 | S12 |     | S13 |
//  Row 3 ||  S0 |  S1 |  S2 |  S3 |  S4 |  S5 |  S6 |  S7 |  S8 |  S9 | S10 | S11 |     | S12 | S13 |
//  Row 4 ||  S0 |  S1 |  S2 |     |     |     |  S3 |     |  S4 |  S5 | S6  |     | S7  | S8  | S9  |
//     -----------------------------------------------------------------------------------
//
        map = <
RC(0,0) RC(0,1) RC(0,2) RC(0,3) RC(0,4) RC(0,5) RC(0,6) RC(0,7) RC(0,8) RC(0,9) RC(0,10) RC(0,11) RC(0,12) RC(0,13) RC(0,14)
RC(1,0) RC(1,1) RC(1,2) RC(1,3) RC(1,4) RC(1,5) RC(1,6) RC(1,7) RC(1,8) RC(1,9) RC(1,10) RC(1,11) RC(1,12) RC(1,13) RC(1,14)
RC(2,0) RC(2,1) RC(2,2) RC(2,3) RC(2,4) RC(2,5) RC(2,6) RC(2,7) RC(2,8) RC(2,9) RC(2,10) RC(2,11) RC(2,12)          RC(2,14)
RC(3,0) RC(3,1) RC(3,2) RC(3,3) RC(3,4) RC(3,5) RC(3,6) RC(3,7) RC(3,8) RC(3,9) RC(3,10) RC(3,11)          RC(3,13) RC(3,14)
RC(4,0) RC(4,1) RC(4,2)                         RC(4,6)         RC(4,8) RC(4,9) RC(4,10)          RC(4,12) RC(4,13) RC(4,14)
        >;
    };

    kscan0: kscan {
        compatible = "zmk,kscan-gpio-matrix";

        diode-direction = "col2row";
        row-gpios
            = <&gpio0 29 (GPIO_ACTIVE_HIGH | GPIO_PULL_DOWN)>
            , <&gpio0 28 (GPIO_ACTIVE_HIGH | GPIO_PULL_DOWN)>
            , <&gpio0 27 (GPIO_ACTIVE_HIGH | GPIO_PULL_DOWN)>
            , <&gpio0 26 (GPIO_ACTIVE_HIGH | GPIO_PULL_DOWN)>
            , <&gpio0 22 (GPIO_ACTIVE_HIGH | GPIO_PULL_DOWN)>
            ;
        col-gpios
            = <&gpio0 25 GPIO_ACTIVE_HIGH>
            , <&gpio0 24 GPIO_ACTIVE_HIGH>
            , <&gpio0 23 GPIO_ACTIVE_HIGH>
            , <&gpio0 1  GPIO_ACTIVE_HIGH>
            , <&gpio0 7  GPIO_ACTIVE_HIGH>
            , <&gpio0 21 GPIO_ACTIVE_HIGH>
            , <&gpio0 20 GPIO_ACTIVE_HIGH>
            , <&gpio0 19 GPIO_ACTIVE_HIGH>
            , <&gpio0 18 GPIO_ACTIVE_HIGH>
            , <&gpio0 17 GPIO_ACTIVE_HIGH>
            , <&gpio0 16 GPIO_ACTIVE_HIGH>
            , <&gpio0 15 GPIO_ACTIVE_HIGH>
            , <&gpio0 14 GPIO_ACTIVE_HIGH>
            , <&gpio0 13 GPIO_ACTIVE_HIGH>
            , <&gpio0 12 GPIO_ACTIVE_HIGH>
            ;
    };
};

&flash0 {
    reg = <0x10000000 DT_SIZE_M(16)>;

    partitions {
        compatible = "fixed-partitions";
        #address-cells = <1>;
        #size-cells = <1>;

        /* Reserved memory for the second stage bootloader */
        second_stage_bootloader: partition@0 {
            reg = <0x00000000 0x100>;
            read-only;
        };

        /*
         * Usable flash. Starts at 0x100, after the bootloader. The partition
         * size is 16MB minus the 0x100 bytes taken by the bootloader.
         */
        code_partition: partition@100 {
            reg = <0x100 (DT_SIZE_M(16) - 0x100)>;
            read-only;
        };
    };
};

&timer {
  status = "okay";
};

&rtc {
    clocks = <&clocks RPI_PICO_CLKID_CLK_RTC>;
    status = "okay";
};

zephyr_udc0: &usbd {
  status = "okay";
};

&vreg {
    regulator-always-on;
    regulator-allowed-modes = <REGULATOR_RPI_PICO_MODE_NORMAL>;
};

&gpio0 {
    status = "okay";
};

&layout_65_ansi {
    transform = <&default_transform>;
};
```

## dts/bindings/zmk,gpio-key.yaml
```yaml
# Copyright (c) 2025 The ZMK Contributors
# SPDX-License-Identifier: MIT

description: |
  Driver for monitoring GPIO key state changes

compatible: "zmk,gpio-key"

include: base.yaml

properties:
  gpios:
    type: phandle-array
    required: true
    description: The GPIO pin to monitor for state changes (phandle, pin, flags)
  pull-up:
    type: boolean
    description: Enable pull-up resistor on the GPIO pin
  pull-down:
    type: boolean
    description: Enable pull-down resistor on the GPIO pin
  debounce-ms:
    type: int
    default: 0
    description: Debounce time in milliseconds to filter out noise
```

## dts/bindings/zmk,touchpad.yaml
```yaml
# SPDX-License-Identifier: MIT

description: |
  ZMK touchpad configuration with per-layer bindings.

compatible: "zmk,touchpad"

child-binding:
  description: "Touchpad configuration for a layer (matched by definition order)"

  properties:
    mode:
      type: int
      required: false
      description: |
        Touchpad mode for this layer:
        0 = gesture mode (only gesture bindings fire)
        1 = mouse simulation (touch start/end fire, mouse movement enabled)
      default: 0

    bindings:
      type: phandle-array
      required: false
      description: |
        Behavior bindings (7 entries, in order):
        [0] = touch start
        [1] = touch end
        [2] = tap
        [3] = gesture left
        [4] = gesture right
        [5] = gesture up
        [6] = gesture down
```

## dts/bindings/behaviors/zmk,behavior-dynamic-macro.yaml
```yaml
description: Dynamic Macro Behavior

compatible: "zmk,behavior-dynamic-macro"

include: one_param.yaml

properties:
  "#binding-cells":
    const: 1
```

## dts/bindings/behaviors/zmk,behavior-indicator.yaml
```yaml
description: Coban indicator behavior

compatible: "zmk,behavior-indicator"

include: zero_param.yaml

properties:
  indicate-battery:
    type: boolean
  indicate-connectivity:
    type: boolean
  indicate-layer:
    type: boolean
```

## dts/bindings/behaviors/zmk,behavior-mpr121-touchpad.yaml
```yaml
# SPDX-License-Identifier: MIT

description: |
  MPR121 touchpad behavior configuration.
  Maps touch events and swipe gestures to key behaviors.
  Bindings order: touch_start, touch_move, touch_end, tap, swipe_left, swipe_right, swipe_up, swipe_down

compatible: "zmk,behavior-mpr121-touchpad"

properties:
  bindings:
    type: phandle-array
    required: true
    description: |
      Behavior bindings in order:
      [0] = touch start
      [1] = touch move
      [2] = touch end
      [3] = tap
      [4] = swipe left
      [5] = swipe right
      [6] = swipe up
      [7] = swipe down
```

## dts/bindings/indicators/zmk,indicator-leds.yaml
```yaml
# Copyright (c) 2025, The ZMK Contributors
# SPDX-License-Identifier: MIT

description: Display the states of HID indicators using LEDs

compatible: "zmk,indicator-leds"

properties:
  led-strip:
    type: phandles
    description: |
      Phandle to a ws2812 led-strip node. When present, indicators use the
      LED strip instead of direct GPIO LEDs.

child-binding:
  properties:
    leds:
      type: phandles
      required: true
      description: One or more LED devices to control

    indicator:
      type: int
      required: true
      description: HID_INDICATOR_* value to indicate (see dt-bindings/zmk/hid_indicators.h)

    active-brightness:
      type: int
      description: LED brightness in percent when the indicator is active
      default: 100

    inactive-brightness:
      type: int
      description: LED brightness in percent when the indicator is not active
      default: 0

    disconnected-brightness:
      type: int
      description: LED brightness in percent when the keyboard is not connected to any device
      default: 0

    on-while-idle:
      type: boolean
      description: Keep LEDs enabled even when the keyboard is idle and on battery power
```

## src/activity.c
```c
/*
 * Copyright (c) 2020 The ZMK Contributors
 *
 * SPDX-License-Identifier: MIT
 */

#include <zephyr/device.h>
#include <zephyr/init.h>
#include <zephyr/kernel.h>
#include <zephyr/sys/poweroff.h>

#include <zephyr/logging/log.h>

LOG_MODULE_DECLARE(zmk, CONFIG_ZMK_LOG_LEVEL);

#include <zmk/event_manager.h>
#include <zmk/events/activity_state_changed.h>
#include <zmk/events/position_state_changed.h>
#include <zmk/events/sensor_event.h>

#include <zmk/pm.h>

#include <zmk/activity.h>

#if IS_ENABLED(CONFIG_ZMK_USB_DEVICE)
#include <zmk/usb.h>
#endif

#if IS_ENABLED(CONFIG_ZMK_POINTING)
#include <zephyr/input/input.h>
#endif

bool is_usb_power_present(void) {
#if IS_ENABLED(CONFIG_ZMK_USB_DEVICE)
    return zmk_usb_is_powered();
#else
    return false;
#endif /* IS_ENABLED(CONFIG_ZMK_USB_DEVICE) */
}

static enum zmk_activity_state activity_state;

static uint32_t activity_last_uptime;

#define MAX_IDLE_MS CONFIG_ZMK_IDLE_TIMEOUT

#if IS_ENABLED(CONFIG_ZMK_SLEEP)
#define MAX_SLEEP_MS CONFIG_ZMK_IDLE_SLEEP_TIMEOUT
#endif

int raise_event(void) {
    return raise_zmk_activity_state_changed(
        (struct zmk_activity_state_changed){.state = activity_state});
}

int set_state(enum zmk_activity_state state) {
    if (activity_state == state)
        return 0;

    activity_state = state;
    return raise_event();
}

enum zmk_activity_state zmk_activity_get_state(void) { return activity_state; }

static int note_activity(void) {
    activity_last_uptime = k_uptime_get();

    return set_state(ZMK_ACTIVITY_ACTIVE);
}

static int activity_event_listener(const zmk_event_t *eh) { return note_activity(); }

void activity_work_handler(struct k_work *work) {
    int32_t current = k_uptime_get();
    int32_t inactive_time = current - activity_last_uptime;
#if IS_ENABLED(CONFIG_ZMK_SLEEP)
    if (inactive_time > MAX_SLEEP_MS && !is_usb_power_present()) {
        // Put devices in suspend power mode before sleeping
        set_state(ZMK_ACTIVITY_SLEEP);

        if (zmk_pm_suspend_devices() < 0) {
            LOG_ERR("Failed to suspend all the devices");
            zmk_pm_resume_devices();
            return;
        }

        sys_poweroff();
    } else
#endif /* IS_ENABLED(CONFIG_ZMK_SLEEP) */
        if (inactive_time > MAX_IDLE_MS) {
            set_state(ZMK_ACTIVITY_IDLE);
        }
}

K_WORK_DEFINE(activity_work, activity_work_handler);

void activity_expiry_function(struct k_timer *_timer) { k_work_submit(&activity_work); }

K_TIMER_DEFINE(activity_timer, activity_expiry_function, NULL);

static int activity_init(void) {
    activity_last_uptime = k_uptime_get();

    k_timer_start(&activity_timer, K_SECONDS(1), K_SECONDS(1));
    return 0;
}

ZMK_LISTENER(activity, activity_event_listener);
ZMK_SUBSCRIPTION(activity, zmk_position_state_changed);
ZMK_SUBSCRIPTION(activity, zmk_sensor_event);

#if IS_ENABLED(CONFIG_ZMK_POINTING)

static void note_activity_work_cb(struct k_work *_work) { note_activity(); }

K_WORK_DEFINE(note_activity_work, note_activity_work_cb);

static void activity_input_listener(struct input_event *ev, void *user_data) {
    k_work_submit(&note_activity_work);
}

INPUT_CALLBACK_DEFINE(NULL, activity_input_listener, NULL);

#endif

SYS_INIT(activity_init, APPLICATION, CONFIG_APPLICATION_INIT_PRIORITY);
```
